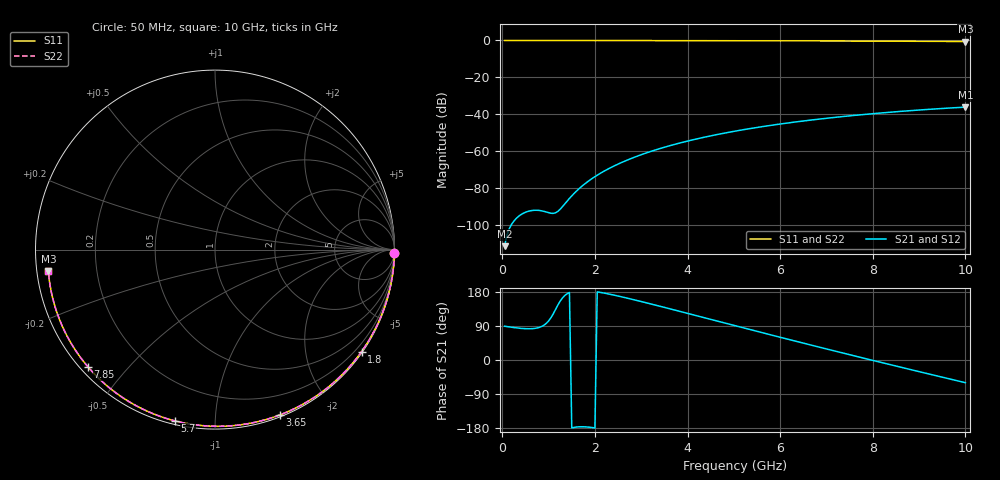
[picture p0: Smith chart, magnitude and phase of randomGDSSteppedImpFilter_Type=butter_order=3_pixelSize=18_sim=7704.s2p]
! freq	dB(S11)	phase(S11)	dB(S12)	phase(S12)
!  dB(S21)	phase(S21)	dB(S22)	phase(S22)
!S-par simulation data
#  GHz  S  DB  R 50
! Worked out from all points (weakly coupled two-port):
!   200 points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, 50 MHz to 10 GHz, reference 50 ohm
!   highest |S21| = -36.14 dB at 10 GHz (marker M1); lowest = -111.5 dB at 50 MHz (marker M2)
!   lowest |S11| = -0.6 dB at 10 GHz (marker M3), VSWR 30.30, Z = 1.66 - j3.26 ohm
!   |S11| at or under -10 dB: nowhere
!   |S22| runs from -0.6 to 0.0 dB; largest |S21 - S12| = 0
!   S11 on the Smith chart (normalised r, x): 50 MHz: open; 1.8 GHz: 0.03, -3.19; 3.65 GHz: 0.02, -1.47; 5.7 GHz: 0.02, -0.79; 7.85 GHz: 0.02, -0.39; 10 GHz: 0.03, -0.07
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0.05  -0.00 -1.0  -111.50 89.1  -111.50 89.1  -0.00 -1.0
0.45  -0.01 -8.9  -93.72 83.0  -93.72 83.0  -0.01 -8.9
0.85  -0.02 -16.6  -92.35 88.5  -92.35 88.5  -0.02 -16.6
1.65  -0.04 -32.0  -80.52 -176.3  -80.52 -176.3  -0.04 -32.0
1.7  -0.04 -32.9  -79.41 -176.1  -79.41 -176.1  -0.04 -32.9
1.75  -0.04 -33.9  -78.37 -176.2  -78.37 -176.2  -0.04 -33.9
1.8  -0.04 -34.8  -77.37 -176.5  -77.37 -176.5  -0.04 -34.8
2.1  -0.05 -40.5  -72.26 178.8  -72.26 178.8  -0.05 -40.5
2.5  -0.06 -47.9  -67.01 168.8  -67.01 168.8  -0.06 -47.9
2.9  -0.07 -55.2  -62.84 157.3  -62.84 157.3  -0.07 -55.2
3.4  -0.09 -64.2  -58.62 142.0  -58.62 142.0  -0.09 -64.2
3.65  -0.09 -68.6  -56.81 134.1  -56.81 134.1  -0.09 -68.6
4.35  -0.12 -80.7  -52.51 112.0  -52.51 112.0  -0.12 -80.7
5.05  -0.14 -92.5  -49.05 89.8  -49.05 89.8  -0.14 -92.5
5.7  -0.17 -103.2  -46.38 69.4  -46.38 69.4  -0.17 -103.2
6.2  -0.20 -111.2  -44.61 53.8  -44.61 53.8  -0.20 -111.2
6.7  -0.23 -119.2  -43.04 38.3  -43.04 38.3  -0.23 -119.2
7.25  -0.27 -127.9  -41.51 21.5  -41.51 21.5  -0.27 -127.9
7.85  -0.33 -137.4  -40.03 3.4  -40.03 3.4  -0.33 -137.4
8.35  -0.37 -145.3  -38.95 -11.5  -38.95 -11.5  -0.37 -145.3
9.2  -0.47 -159.1  -37.36 -36.6  -37.36 -36.6  -0.47 -159.1
10  -0.57 -172.5  -36.14 -59.9  -36.14 -59.9  -0.57 -172.6
